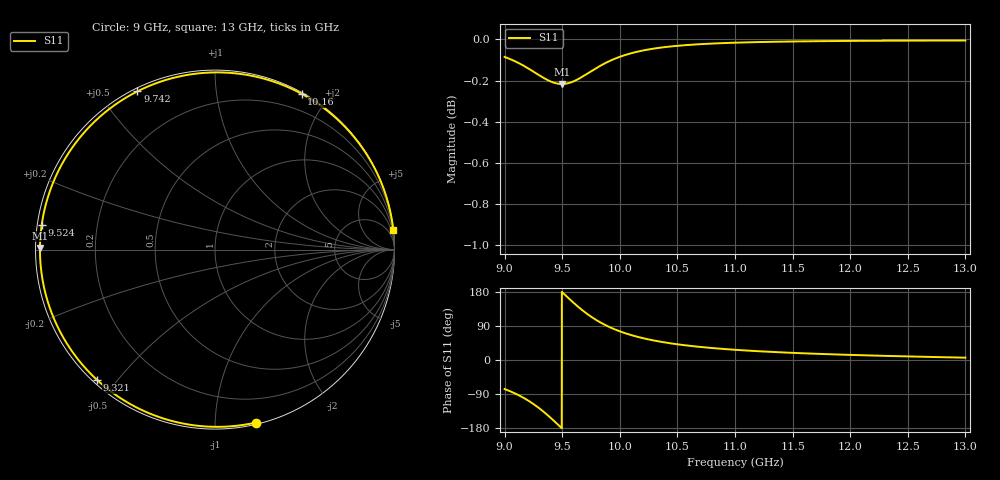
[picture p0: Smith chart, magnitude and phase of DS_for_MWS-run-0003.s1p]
! TOUCHSTONE file generated by CST DESIGN STUDIO
! Date and time: Tue Feb  4 17:11:03 2025
! Project name: C:\Work\MatlabApps\UnitCellOptimizationMatlab\CST\unitcell.cst
! Tree item: Tasks\Sweep1\SPara1\S-Parameters
! Header version: 2024
! Port assignment regex: !\s*Touchstone port\s*([0-9]+)\s*=\s*(CST MWS port|CST DES external port|CST DES block port)\s*(.+)\s* \(\"(.*)\"\)(\s*mode\s*([0-9]+))?.*
! Touchstone port assignment:
! Touchstone port 1 = CST DES external port 1 ("")
# GHz S MA R 50
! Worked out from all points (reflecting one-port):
!   4001 points, 9 GHz to 13 GHz, reference 50 ohm
!   lowest |S11| = -0.2 dB at 9.498 GHz (marker M1), VSWR 80.01, Z = 0.625 + j0.23 ohm
!   phase of S11 starts at -77 deg and turns -277 deg over the sweep
!   S11 on the Smith chart (normalised r, x): 9 GHz: 0.01, -1.27; 9.321 GHz: 0.01, -0.44; 9.524 GHz: 0.01, +0.07; 9.742 GHz: 0.01, +0.62; 10.16 GHz: 0.01, +1.70; 13 GHz: 0, +19
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9  0.9902 -76.6
9.083  0.988 -87.2
9.184  0.9847 -103.3
9.255  0.9819 -117.2
9.321  0.9793 -132.2
9.368  0.9776 -144.1
9.418  0.9762 -157.6
9.459  0.9755 -169.3
9.498  0.9753 179.5
9.5  0.9753 178.9
9.524  0.9754 172.0
9.578  0.9763 156.6
9.638  0.978 140.5
9.689  0.9799 127.9
9.742  0.982 116.1
9.795  0.984 105.6
9.853  0.9861 95.6
9.926  0.9884 84.8
10  0.9903 75.7
10.157  0.9932 60.9
10.313  0.995 50.5
10.5  0.9964 41.4
10.722  0.9974 33.8
11  0.9981 26.9
11.5  0.9988 18.8
12  0.9991 13.4
12.5  0.9993 9.4
13  0.9994 6.2
